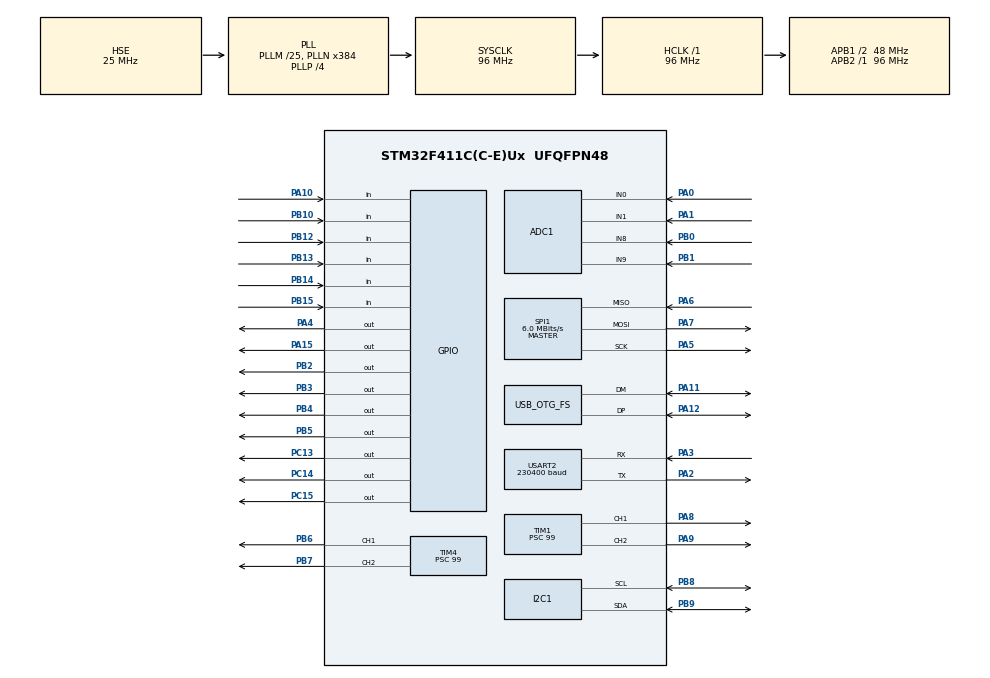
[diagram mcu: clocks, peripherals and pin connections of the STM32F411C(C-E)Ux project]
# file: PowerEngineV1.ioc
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ADC1.Channel-1\#ChannelRegularConversion=ADC_CHANNEL_0
ADC1.Channel-2\#ChannelRegularConversion=ADC_CHANNEL_1
ADC1.Channel-3\#ChannelRegularConversion=ADC_CHANNEL_8
ADC1.Channel-4\#ChannelRegularConversion=ADC_CHANNEL_9
ADC1.ContinuousConvMode=DISABLE
ADC1.DMAContinuousRequests=ENABLE
ADC1.DiscontinuousConvMode=DISABLE
ADC1.EOCSelection=ADC_EOC_SEQ_CONV
ADC1.ExternalTrigConv=ADC_EXTERNALTRIGCONV_T3_TRGO
ADC1.NbrOfConversion=4
ADC1.NbrOfConversionFlag=1
ADC1.Rank-1\#ChannelRegularConversion=1
ADC1.Rank-2\#ChannelRegularConversion=2
ADC1.Rank-3\#ChannelRegularConversion=3
ADC1.Rank-4\#ChannelRegularConversion=4
ADC1.SamplingTime-1\#ChannelRegularConversion=ADC_SAMPLETIME_84CYCLES
ADC1.SamplingTime-2\#ChannelRegularConversion=ADC_SAMPLETIME_84CYCLES
ADC1.SamplingTime-3\#ChannelRegularConversion=ADC_SAMPLETIME_84CYCLES
ADC1.SamplingTime-4\#ChannelRegularConversion=ADC_SAMPLETIME_84CYCLES
ADC1.ScanConvMode=ENABLE
ADC1.master=1
Dma.ADC1.2.Direction=DMA_PERIPH_TO_MEMORY
Dma.ADC1.2.FIFOMode=DMA_FIFOMODE_DISABLE
Dma.ADC1.2.Instance=DMA2_Stream0
Dma.ADC1.2.MemDataAlignment=DMA_MDATAALIGN_HALFWORD
Dma.ADC1.2.MemInc=DMA_MINC_ENABLE
Dma.ADC1.2.Mode=DMA_CIRCULAR
Dma.ADC1.2.PeriphDataAlignment=DMA_PDATAALIGN_HALFWORD
Dma.ADC1.2.PeriphInc=DMA_PINC_DISABLE
Dma.ADC1.2.Priority=DMA_PRIORITY_HIGH
Dma.Request0=USART2_RX
Dma.Request1=USART2_TX
Dma.Request2=ADC1
Dma.USART2_RX.0.Direction=DMA_PERIPH_TO_MEMORY
Dma.USART2_RX.0.FIFOMode=DMA_FIFOMODE_DISABLE
Dma.USART2_RX.0.Instance=DMA1_Stream5
Dma.USART2_RX.0.MemDataAlignment=DMA_MDATAALIGN_BYTE
Dma.USART2_RX.0.MemInc=DMA_MINC_ENABLE
Dma.USART2_RX.0.Mode=DMA_NORMAL
Dma.USART2_RX.0.PeriphDataAlignment=DMA_PDATAALIGN_BYTE
Dma.USART2_RX.0.PeriphInc=DMA_PINC_DISABLE
Dma.USART2_RX.0.Priority=DMA_PRIORITY_HIGH
Dma.USART2_TX.1.Direction=DMA_MEMORY_TO_PERIPH
Dma.USART2_TX.1.FIFOMode=DMA_FIFOMODE_DISABLE
Dma.USART2_TX.1.Instance=DMA1_Stream6
Dma.USART2_TX.1.MemDataAlignment=DMA_MDATAALIGN_BYTE
Dma.USART2_TX.1.MemInc=DMA_MINC_ENABLE
Dma.USART2_TX.1.Mode=DMA_NORMAL
Dma.USART2_TX.1.PeriphDataAlignment=DMA_PDATAALIGN_BYTE
Dma.USART2_TX.1.PeriphInc=DMA_PINC_DISABLE
Dma.USART2_TX.1.Priority=DMA_PRIORITY_HIGH
IWDG.Prescaler=IWDG_PRESCALER_64
Mcu.Family=STM32F4
Mcu.Name=STM32F411C(C-E)Ux
Mcu.Package=UFQFPN48
NVIC.DMA1_Stream5_IRQn=true\:6\:0\:true\:false\:true\:false\:true\:true
NVIC.DMA1_Stream6_IRQn=true\:6\:0\:true\:false\:true\:false\:true\:true
NVIC.DMA2_Stream0_IRQn=true\:6\:0\:true\:false\:true\:false\:true\:true
NVIC.OTG_FS_IRQn=true\:0\:0\:false\:false\:true\:false\:true\:true
NVIC.PriorityGroup=NVIC_PRIORITYGROUP_4
NVIC.TIM2_IRQn=true\:15\:0\:false\:false\:true\:false\:true\:true
NVIC.TimeBase=TIM2_IRQn
NVIC.TimeBaseIP=TIM2
NVIC.USART2_IRQn=true\:6\:0\:true\:false\:true\:false\:true\:true
PA0-WKUP.Signal=ADCx_IN0
PA1.Signal=ADCx_IN1
PA10.GPIO_PuPd=GPIO_PULLDOWN
PA10.Signal=GPIO_Input
PA11.Mode=Device_Only
PA11.Signal=USB_OTG_FS_DM
PA12.Mode=Device_Only
PA12.Signal=USB_OTG_FS_DP
PA13.Mode=Serial_Wire
PA13.Signal=SYS_JTMS-SWDIO
PA14.Mode=Serial_Wire
PA14.Signal=SYS_JTCK-SWCLK
PA15.Signal=GPIO_Output
PA2.Mode=Asynchronous
PA2.Signal=USART2_TX
PA3.Mode=Asynchronous
PA3.Signal=USART2_RX
PA4.Signal=GPIO_Output
PA5.Mode=Full_Duplex_Master
PA5.Signal=SPI1_SCK
PA6.Mode=Full_Duplex_Master
PA6.Signal=SPI1_MISO
PA7.Mode=Full_Duplex_Master
PA7.Signal=SPI1_MOSI
PA8.Signal=S_TIM1_CH1
PA9.Signal=S_TIM1_CH2
PB0.Signal=ADCx_IN8
PB1.Signal=ADCx_IN9
PB10.GPIO_PuPd=GPIO_PULLDOWN
PB10.Signal=GPIO_Input
PB12.GPIO_PuPd=GPIO_PULLDOWN
PB12.Signal=GPIO_Input
PB13.GPIO_PuPd=GPIO_PULLUP
PB13.Signal=GPIO_Input
PB14.GPIO_PuPd=GPIO_PULLUP
PB14.Signal=GPIO_Input
PB15.GPIO_PuPd=GPIO_PULLUP
PB15.Signal=GPIO_Input
PB2.Signal=GPIO_Output
PB3.Signal=GPIO_Output
PB4.Signal=GPIO_Output
PB5.Signal=GPIO_Output
PB6.Signal=S_TIM4_CH1
PB7.Signal=S_TIM4_CH2
PB8.Mode=I2C
PB8.Signal=I2C1_SCL
PB9.Mode=I2C
PB9.Signal=I2C1_SDA
PC13-ANTI_TAMP.Signal=GPIO_Output
PC14-OSC32_IN.Signal=GPIO_Output
PC15-OSC32_OUT.Signal=GPIO_Output
PH0\ -\ OSC_IN.Mode=HSE-External-Oscillator
PH0\ -\ OSC_IN.Signal=RCC_OSC_IN
PH1\ -\ OSC_OUT.Mode=HSE-External-Oscillator
PH1\ -\ OSC_OUT.Signal=RCC_OSC_OUT
ProjectManager.HeapSize=0x200
ProjectManager.StackSize=0x400
ProjectManager.TargetToolchain=STM32CubeIDE
RCC.48MHZClocksFreq_Value=48000000
RCC.AHBFreq_Value=96000000
RCC.APB1CLKDivider=RCC_HCLK_DIV2
RCC.APB1Freq_Value=48000000
RCC.APB1TimFreq_Value=96000000
RCC.APB2Freq_Value=96000000
RCC.APB2TimFreq_Value=96000000
RCC.CortexFreq_Value=96000000
RCC.HCLKFreq_Value=96000000
RCC.HSE_VALUE=25000000
RCC.HSI_VALUE=16000000
RCC.LSE_VALUE=32768
RCC.PLLM=25
RCC.PLLN=384
RCC.PLLP=RCC_PLLP_DIV4
RCC.PLLQ=8
RCC.SYSCLKFreq_VALUE=96000000
RCC.SYSCLKSource=RCC_SYSCLKSOURCE_PLLCLK
RCC.VCOOutputFreq_Value=384000000
SH.ADCx_IN0.0=ADC1_IN0,IN0
SH.ADCx_IN1.0=ADC1_IN1,IN1
SH.ADCx_IN8.0=ADC1_IN8,IN8
SH.ADCx_IN9.0=ADC1_IN9,IN9
SH.S_TIM1_CH1.0=TIM1_CH1,PWM Generation1 CH1
SH.S_TIM1_CH2.0=TIM1_CH2,PWM Generation2 CH2
SH.S_TIM4_CH1.0=TIM4_CH1,PWM Generation1 CH1
SH.S_TIM4_CH2.0=TIM4_CH2,PWM Generation2 CH2
SPI1.BaudRatePrescaler=SPI_BAUDRATEPRESCALER_16
SPI1.CalculateBaudRate=6.0 MBits/s
SPI1.Direction=SPI_DIRECTION_2LINES
SPI1.FirstBit=SPI_FIRSTBIT_MSB
SPI1.Mode=SPI_MODE_MASTER
SPI1.VirtualType=VM_MASTER
TIM1.AutoReloadPreload=TIM_AUTORELOAD_PRELOAD_ENABLE
TIM1.Channel-PWM\ Generation1\ CH1=TIM_CHANNEL_1
TIM1.Channel-PWM\ Generation2\ CH2=TIM_CHANNEL_2
TIM1.Period=999
TIM1.Prescaler=99
TIM3.Period=999
TIM3.Prescaler=83
TIM3.TIM_MasterOutputTrigger=TIM_TRGO_UPDATE
TIM4.AutoReloadPreload=TIM_AUTORELOAD_PRELOAD_ENABLE
TIM4.Channel-PWM\ Generation1\ CH1=TIM_CHANNEL_1
TIM4.Channel-PWM\ Generation2\ CH2=TIM_CHANNEL_2
TIM4.Period=999
TIM4.Prescaler=99
USART2.BaudRate=230400
USART2.VirtualMode=VM_ASYNC
USB_DEVICE.CLASS_NAME_FS=CDC
USB_DEVICE.VirtualMode=Cdc
USB_DEVICE.VirtualModeFS=Cdc_FS
USB_OTG_FS.VirtualMode=Device_Only
VP_IWDG_VS_IWDG.Mode=IWDG_Activate
VP_SYS_VS_tim2.Mode=TIM2
VP_TIM1_VS_ClockSourceINT.Mode=Internal
VP_TIM3_VS_ClockSourceINT.Mode=Internal
VP_USB_DEVICE_VS_USB_DEVICE_CDC_FS.Mode=CDC_FS
board=custom

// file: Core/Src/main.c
/* USER CODE BEGIN Header */
/**
  ******************************************************************************
  * @file           : main.c
  * @brief          : Main program body
  ******************************************************************************
  * @attention
  *
  * Copyright (c) 2025 STMicroelectronics.
  * All rights reserved.
  *
  * This software is licensed under terms that can be found in the LICENSE file
  * in the root directory of this software component.
  * If no LICENSE file comes with this software, it is provided AS-IS.
  *
  ******************************************************************************
  */
/* USER CODE END Header */
#include "main.h"
#include "usb_device.h"

/* USER CODE BEGIN Includes */

#include "plc.h"
#include "cbor.h"
#include "FreeRTOS.h"
#include "task.h"
#include "usbd_cdc_if.h"
#include "usb_log.h"
#include "plc_persist.h"
#include "uart2_cmd_handler.h"
#include "logf.h"
#include "plc_log.h"
/* USER CODE END Includes */

/* USER CODE BEGIN PTD */
#define ADC_CH_NUM 4
volatile uint16_t g_adcRaw[ADC_CH_NUM];
/* USER CODE END PTD */

ADC_HandleTypeDef hadc1;
DMA_HandleTypeDef hdma_adc1;

I2C_HandleTypeDef hi2c1;

IWDG_HandleTypeDef hiwdg;

SPI_HandleTypeDef hspi1;

TIM_HandleTypeDef htim1;
TIM_HandleTypeDef htim3;
TIM_HandleTypeDef htim4;

UART_HandleTypeDef huart2;
DMA_HandleTypeDef hdma_usart2_rx;
DMA_HandleTypeDef hdma_usart2_tx;

void SystemClock_Config(void);

static void MX_GPIO_Init(void);

static void MX_DMA_Init(void);

static void MX_IWDG_Init(void);

static void MX_USART2_UART_Init(void);

static void MX_ADC1_Init(void);

static void MX_I2C1_Init(void);

static void MX_SPI1_Init(void);

static void MX_TIM1_Init(void);

static void MX_TIM4_Init(void);

static void MX_TIM3_Init(void);

/* USER CODE BEGIN PFP */
static void PLC_InitExampleGraph(void);

/* USER CODE END PFP */

int main(void) {

    /* MCU Configuration--------------------------------------------------------*/

    /* Reset of all peripherals, Initializes the Flash interface and the Systick. */
    HAL_Init();

    /* Configure the system clock */
    SystemClock_Config();

    /* Initialize all configured peripherals */
    MX_GPIO_Init();
    MX_DMA_Init();
    MX_IWDG_Init();
    MX_USART2_UART_Init();
    MX_ADC1_Init();
    MX_I2C1_Init();
    MX_SPI1_Init();
    MX_TIM1_Init();
    MX_TIM4_Init();
    MX_USB_DEVICE_Init();
    MX_TIM3_Init();
    /* USER CODE BEGIN 2 */
    // Сформировать тестовый граф ПЛК прямо в g_activeGraph
//    PLC_InitExampleGraph();
    // === ЗАПУСК ADC + DMA ===
    if (HAL_ADC_Start_DMA(&hadc1, (uint32_t *) g_adcRaw, 4) != HAL_OK) {
        Error_Handler();
    }

    // === ЗАПУСК TIM3 (TRGO) ===
    if (HAL_TIM_Base_Start(&htim3) != HAL_OK) {
        Error_Handler();
    }

    // Включить главный выход TIM1
    __HAL_TIM_MOE_ENABLE(&htim1);
    // PWM0 -> TIM1_CH1
    HAL_TIM_PWM_Start(&htim1, TIM_CHANNEL_1);

    // PWM3 -> TIM1_CH2 (если используешь)
    HAL_TIM_PWM_Start(&htim1, TIM_CHANNEL_2);

    // PWM1 -> TIM4_CH1
    HAL_TIM_PWM_Start(&htim4, TIM_CHANNEL_1);

    // PWM2 -> TIM4_CH2
    HAL_TIM_PWM_Start(&htim4, TIM_CHANNEL_2);
//
    u2_start();
//    // Отметить граф как активный и валидный
//    g_activeGraphValid  = true;
//    g_stagingGraphValid = false;
//    g_needSwapGraph     = false;

    // Запустить FreeRTOS (создаст задачи TaskPlcScan и TaskComms и не вернётся)
    UsbLog_Init();
    logf_set_level(LOG_LEVEL_DEBUG); // показывать всё
    logf_set_enabled(true);          // включить логи

    LOGI("Init done, ver=%u", 1u);
    LOGD("Debug details x=%ld", (long) 123);
    plc_log_init();
    if (!plc_persist_load_active()) {
        // если ничего нет — твой тестовый:
        LOGD("plc_persist_load_active false\r\n");
//        PLC_InitExampleGraph();
//        g_activeGraphValid  = true;
//        g_stagingGraphValid = false;
//        g_needSwapGraph     = false;
    } else {
        LOGD("plc_persist_load_active true\r\n");
    }

    init_rtos();
    /* USER CODE END 2 */

    /* Infinite loop */
    while (1) {

    }
}

void SystemClock_Config(void) {
    RCC_OscInitTypeDef RCC_OscInitStruct = {0};
    RCC_ClkInitTypeDef RCC_ClkInitStruct = {0};

    /** Configure the main internal regulator output voltage
    */
    __HAL_RCC_PWR_CLK_ENABLE();
    __HAL_PWR_VOLTAGESCALING_CONFIG(PWR_REGULATOR_VOLTAGE_SCALE1);

    /** Initializes the RCC Oscillators according to the specified parameters
    * in the RCC_OscInitTypeDef structure.
    */
    RCC_OscInitStruct.OscillatorType = RCC_OSCILLATORTYPE_LSI | RCC_OSCILLATORTYPE_HSE;
    RCC_OscInitStruct.HSEState = RCC_HSE_ON;
    RCC_OscInitStruct.LSIState = RCC_LSI_ON;
    RCC_OscInitStruct.PLL.PLLState = RCC_PLL_ON;
    RCC_OscInitStruct.PLL.PLLSource = RCC_PLLSOURCE_HSE;
    RCC_OscInitStruct.PLL.PLLM = 25;
    RCC_OscInitStruct.PLL.PLLN = 384;
    RCC_OscInitStruct.PLL.PLLP = RCC_PLLP_DIV4;
    RCC_OscInitStruct.PLL.PLLQ = 8;
    if (HAL_RCC_OscConfig(&RCC_OscInitStruct) != HAL_OK) {
        Error_Handler();
    }

    /** Initializes the CPU, AHB and APB buses clocks
    */
    RCC_ClkInitStruct.ClockType = RCC_CLOCKTYPE_HCLK | RCC_CLOCKTYPE_SYSCLK
                                  | RCC_CLOCKTYPE_PCLK1 | RCC_CLOCKTYPE_PCLK2;
    RCC_ClkInitStruct.SYSCLKSource = RCC_SYSCLKSOURCE_PLLCLK;
    RCC_ClkInitStruct.AHBCLKDivider = RCC_SYSCLK_DIV1;
    RCC_ClkInitStruct.APB1CLKDivider = RCC_HCLK_DIV2;
    RCC_ClkInitStruct.APB2CLKDivider = RCC_HCLK_DIV1;

    if (HAL_RCC_ClockConfig(&RCC_ClkInitStruct, FLASH_LATENCY_3) != HAL_OK) {
        Error_Handler();
    }
}

static void MX_ADC1_Init(void) {

    ADC_ChannelConfTypeDef sConfig = {0};

    /** Configure the global features of the ADC (Clock, Resolution, Data Alignment and number of conversion)
    */
    hadc1.Instance = ADC1;
    hadc1.Init.ClockPrescaler = ADC_CLOCK_SYNC_PCLK_DIV4;
    hadc1.Init.Resolution = ADC_RESOLUTION_12B;
    hadc1.Init.ScanConvMode = ENABLE;
    hadc1.Init.ContinuousConvMode = DISABLE;
    hadc1.Init.DiscontinuousConvMode = DISABLE;
    hadc1.Init.ExternalTrigConvEdge = ADC_EXTERNALTRIGCONVEDGE_RISING;
    hadc1.Init.ExternalTrigConv = ADC_EXTERNALTRIGCONV_T3_TRGO;
    hadc1.Init.DataAlign = ADC_DATAALIGN_RIGHT;
    hadc1.Init.NbrOfConversion = 4;
    hadc1.Init.DMAContinuousRequests = ENABLE;
    hadc1.Init.EOCSelection = ADC_EOC_SEQ_CONV;
    if (HAL_ADC_Init(&hadc1) != HAL_OK) {
        Error_Handler();
    }

    /** Configure for the selected ADC regular channel its corresponding rank in the sequencer and its sample time.
    */
    sConfig.Channel = ADC_CHANNEL_0;
    sConfig.Rank = 1;
    sConfig.SamplingTime = ADC_SAMPLETIME_84CYCLES;
    if (HAL_ADC_ConfigChannel(&hadc1, &sConfig) != HAL_OK) {
        Error_Handler();
    }

    /** Configure for the selected ADC regular channel its corresponding rank in the sequencer and its sample time.
    */
    sConfig.Channel = ADC_CHANNEL_1;
    sConfig.Rank = 2;
    if (HAL_ADC_ConfigChannel(&hadc1, &sConfig) != HAL_OK) {
        Error_Handler();
    }

    /** Configure for the selected ADC regular channel its corresponding rank in the sequencer and its sample time.
    */
    sConfig.Channel = ADC_CHANNEL_8;
    sConfig.Rank = 3;
    if (HAL_ADC_ConfigChannel(&hadc1, &sConfig) != HAL_OK) {
        Error_Handler();
    }

    /** Configure for the selected ADC regular channel its corresponding rank in the sequencer and its sample time.
    */
    sConfig.Channel = ADC_CHANNEL_9;
    sConfig.Rank = 4;
    if (HAL_ADC_ConfigChannel(&hadc1, &sConfig) != HAL_OK) {
        Error_Handler();
    }

}

static void MX_I2C1_Init(void) {

    hi2c1.Instance = I2C1;
    hi2c1.Init.ClockSpeed = 100000;
    hi2c1.Init.DutyCycle = I2C_DUTYCYCLE_2;
    hi2c1.Init.OwnAddress1 = 0;
    hi2c1.Init.AddressingMode = I2C_ADDRESSINGMODE_7BIT;
    hi2c1.Init.DualAddressMode = I2C_DUALADDRESS_DISABLE;
    hi2c1.Init.OwnAddress2 = 0;
    hi2c1.Init.GeneralCallMode = I2C_GENERALCALL_DISABLE;
    hi2c1.Init.NoStretchMode = I2C_NOSTRETCH_DISABLE;
    if (HAL_I2C_Init(&hi2c1) != HAL_OK) {
        Error_Handler();
    }

}

static void MX_IWDG_Init(void) {

    hiwdg.Instance = IWDG;
    hiwdg.Init.Prescaler = IWDG_PRESCALER_64;
    hiwdg.Init.Reload = 4095;
    if (HAL_IWDG_Init(&hiwdg) != HAL_OK) {
        Error_Handler();
    }

}

static void MX_SPI1_Init(void) {

    /* SPI1 parameter configuration*/
    hspi1.Instance = SPI1;
    hspi1.Init.Mode = SPI_MODE_MASTER;
    hspi1.Init.Direction = SPI_DIRECTION_2LINES;
    hspi1.Init.DataSize = SPI_DATASIZE_8BIT;
    hspi1.Init.CLKPolarity = SPI_POLARITY_LOW;
    hspi1.Init.CLKPhase = SPI_PHASE_1EDGE;
    hspi1.Init.NSS = SPI_NSS_SOFT;
    hspi1.Init.BaudRatePrescaler = SPI_BAUDRATEPRESCALER_16;
    hspi1.Init.FirstBit = SPI_FIRSTBIT_MSB;
    hspi1.Init.TIMode = SPI_TIMODE_DISABLE;
    hspi1.Init.CRCCalculation = SPI_CRCCALCULATION_DISABLE;
    hspi1.Init.CRCPolynomial = 10;
    if (HAL_SPI_Init(&hspi1) != HAL_OK) {
        Error_Handler();
    }

}

static void MX_TIM1_Init(void) {

    TIM_ClockConfigTypeDef sClockSourceConfig = {0};
    TIM_MasterConfigTypeDef sMasterConfig = {0};
    TIM_OC_InitTypeDef sConfigOC = {0};
    TIM_BreakDeadTimeConfigTypeDef sBreakDeadTimeConfig = {0};

    htim1.Instance = TIM1;
    htim1.Init.Prescaler = 0;
    htim1.Init.CounterMode = TIM_COUNTERMODE_UP;
    htim1.Init.Period = 999;
    htim1.Init.ClockDivision = TIM_CLOCKDIVISION_DIV1;
    htim1.Init.RepetitionCounter = 0;
    htim1.Init.AutoReloadPreload = TIM_AUTORELOAD_PRELOAD_ENABLE;
    if (HAL_TIM_Base_Init(&htim1) != HAL_OK) {
        Error_Handler();
    }
    sClockSourceConfig.ClockSource = TIM_CLOCKSOURCE_INTERNAL;
    if (HAL_TIM_ConfigClockSource(&htim1, &sClockSourceConfig) != HAL_OK) {
        Error_Handler();
    }
    if (HAL_TIM_PWM_Init(&htim1) != HAL_OK) {
        Error_Handler();
    }
    sMasterConfig.MasterOutputTrigger = TIM_TRGO_RESET;
    sMasterConfig.MasterSlaveMode = TIM_MASTERSLAVEMODE_DISABLE;
    if (HAL_TIMEx_MasterConfigSynchronization(&htim1, &sMasterConfig) != HAL_OK) {
        Error_Handler();
    }
    sConfigOC.OCMode = TIM_OCMODE_PWM1;
    sConfigOC.Pulse = 0;
    sConfigOC.OCPolarity = TIM_OCPOLARITY_HIGH;
    sConfigOC.OCNPolarity = TIM_OCNPOLARITY_HIGH;
    sConfigOC.OCFastMode = TIM_OCFAST_DISABLE;
    sConfigOC.OCIdleState = TIM_OCIDLESTATE_RESET;
    sConfigOC.OCNIdleState = TIM_OCNIDLESTATE_RESET;
    if (HAL_TIM_PWM_ConfigChannel(&htim1, &sConfigOC, TIM_CHANNEL_1) != HAL_OK) {
        Error_Handler();
    }
    if (HAL_TIM_PWM_ConfigChannel(&htim1, &sConfigOC, TIM_CHANNEL_2) != HAL_OK) {
        Error_Handler();
    }
    sBreakDeadTimeConfig.OffStateRunMode = TIM_OSSR_DISABLE;
    sBreakDeadTimeConfig.OffStateIDLEMode = TIM_OSSI_DISABLE;
    sBreakDeadTimeConfig.LockLevel = TIM_LOCKLEVEL_OFF;
    sBreakDeadTimeConfig.DeadTime = 0;
    sBreakDeadTimeConfig.BreakState = TIM_BREAK_DISABLE;
    sBreakDeadTimeConfig.BreakPolarity = TIM_BREAKPOLARITY_HIGH;
    sBreakDeadTimeConfig.AutomaticOutput = TIM_AUTOMATICOUTPUT_DISABLE;
    if (HAL_TIMEx_ConfigBreakDeadTime(&htim1, &sBreakDeadTimeConfig) != HAL_OK) {
        Error_Handler();
    }
    HAL_TIM_MspPostInit(&htim1);

}

static void MX_TIM3_Init(void) {

    TIM_ClockConfigTypeDef sClockSourceConfig = {0};
    TIM_MasterConfigTypeDef sMasterConfig = {0};

    htim3.Instance = TIM3;
    htim3.Init.Prescaler = 83;
    htim3.Init.CounterMode = TIM_COUNTERMODE_UP;
    htim3.Init.Period = 999;
    htim3.Init.ClockDivision = TIM_CLOCKDIVISION_DIV1;
    htim3.Init.AutoReloadPreload = TIM_AUTORELOAD_PRELOAD_DISABLE;
    if (HAL_TIM_Base_Init(&htim3) != HAL_OK) {
        Error_Handler();
    }
    sClockSourceConfig.ClockSource = TIM_CLOCKSOURCE_INTERNAL;
    if (HAL_TIM_ConfigClockSource(&htim3, &sClockSourceConfig) != HAL_OK) {
        Error_Handler();
    }
    sMasterConfig.MasterOutputTrigger = TIM_TRGO_UPDATE;
    sMasterConfig.MasterSlaveMode = TIM_MASTERSLAVEMODE_DISABLE;
    if (HAL_TIMEx_MasterConfigSynchronization(&htim3, &sMasterConfig) != HAL_OK) {
        Error_Handler();
    }

}

static void MX_TIM4_Init(void) {

    TIM_MasterConfigTypeDef sMasterConfig = {0};
    TIM_OC_InitTypeDef sConfigOC = {0};

    htim4.Instance = TIM4;
    htim4.Init.Prescaler = 0;
    htim4.Init.CounterMode = TIM_COUNTERMODE_UP;
    htim4.Init.Period = 999;
    htim4.Init.ClockDivision = TIM_CLOCKDIVISION_DIV1;
    htim4.Init.AutoReloadPreload = TIM_AUTORELOAD_PRELOAD_ENABLE;
    if (HAL_TIM_PWM_Init(&htim4) != HAL_OK) {
        Error_Handler();
    }
    sMasterConfig.MasterOutputTrigger = TIM_TRGO_RESET;
    sMasterConfig.MasterSlaveMode = TIM_MASTERSLAVEMODE_DISABLE;
    if (HAL_TIMEx_MasterConfigSynchronization(&htim4, &sMasterConfig) != HAL_OK) {
        Error_Handler();
    }
    sConfigOC.OCMode = TIM_OCMODE_PWM1;
    sConfigOC.Pulse = 0;
    sConfigOC.OCPolarity = TIM_OCPOLARITY_HIGH;
    sConfigOC.OCFastMode = TIM_OCFAST_DISABLE;
    if (HAL_TIM_PWM_ConfigChannel(&htim4, &sConfigOC, TIM_CHANNEL_1) != HAL_OK) {
        Error_Handler();
    }
    if (HAL_TIM_PWM_ConfigChannel(&htim4, &sConfigOC, TIM_CHANNEL_2) != HAL_OK) {
        Error_Handler();
    }
    HAL_TIM_MspPostInit(&htim4);

}

static void MX_USART2_UART_Init(void) {

    huart2.Instance = USART2;
    huart2.Init.BaudRate = 230400;
    huart2.Init.WordLength = UART_WORDLENGTH_8B;
    huart2.Init.StopBits = UART_STOPBITS_1;
    huart2.Init.Parity = UART_PARITY_NONE;
    huart2.Init.Mode = UART_MODE_TX_RX;
    huart2.Init.HwFlowCtl = UART_HWCONTROL_NONE;
    huart2.Init.OverSampling = UART_OVERSAMPLING_16;
    if (HAL_UART_Init(&huart2) != HAL_OK) {
        Error_Handler();
    }

}

static void MX_DMA_Init(void) {

    /* DMA controller clock enable */
    __HAL_RCC_DMA1_CLK_ENABLE();
    __HAL_RCC_DMA2_CLK_ENABLE();

    /* DMA interrupt init */
    /* DMA1_Stream5_IRQn interrupt configuration */
    HAL_NVIC_SetPriority(DMA1_Stream5_IRQn, 6, 0);
    HAL_NVIC_EnableIRQ(DMA1_Stream5_IRQn);
    /* DMA1_Stream6_IRQn interrupt configuration */
    HAL_NVIC_SetPriority(DMA1_Stream6_IRQn, 6, 0);
    HAL_NVIC_EnableIRQ(DMA1_Stream6_IRQn);
    /* DMA2_Stream0_IRQn interrupt configuration */
    HAL_NVIC_SetPriority(DMA2_Stream0_IRQn, 6, 0);
    HAL_NVIC_EnableIRQ(DMA2_Stream0_IRQn);

}

static void MX_GPIO_Init(void) {
    GPIO_InitTypeDef GPIO_InitStruct = {0};

    /* GPIO Ports Clock Enable */
    __HAL_RCC_GPIOC_CLK_ENABLE();
    __HAL_RCC_GPIOH_CLK_ENABLE();
    __HAL_RCC_GPIOA_CLK_ENABLE();
    __HAL_RCC_GPIOB_CLK_ENABLE();

    /*Configure GPIO pin Output Level */
    HAL_GPIO_WritePin(GPIOC, GPIO_PIN_13 | GPIO_PIN_14 | GPIO_PIN_15, GPIO_PIN_RESET);

    /*Configure GPIO pin Output Level */
    HAL_GPIO_WritePin(GPIOA, GPIO_PIN_4 | GPIO_PIN_15, GPIO_PIN_RESET);

    /*Configure GPIO pin Output Level */
    HAL_GPIO_WritePin(GPIOB, GPIO_PIN_2 | GPIO_PIN_3 | GPIO_PIN_4 | GPIO_PIN_5, GPIO_PIN_RESET);

    /*Configure GPIO pins : PC13 PC14 PC15 */
    GPIO_InitStruct.Pin = GPIO_PIN_13 | GPIO_PIN_14 | GPIO_PIN_15;
    GPIO_InitStruct.Mode = GPIO_MODE_OUTPUT_PP;
    GPIO_InitStruct.Pull = GPIO_NOPULL;
    GPIO_InitStruct.Speed = GPIO_SPEED_FREQ_LOW;
    HAL_GPIO_Init(GPIOC, &GPIO_InitStruct);

    /*Configure GPIO pins : PA4 PA15 */
    GPIO_InitStruct.Pin = GPIO_PIN_4 | GPIO_PIN_15;
    GPIO_InitStruct.Mode = GPIO_MODE_OUTPUT_PP;
    GPIO_InitStruct.Pull = GPIO_NOPULL;
    GPIO_InitStruct.Speed = GPIO_SPEED_FREQ_LOW;
    HAL_GPIO_Init(GPIOA, &GPIO_InitStruct);

    /*Configure GPIO pins : PB2 PB3 PB4 PB5 */
    GPIO_InitStruct.Pin = GPIO_PIN_2 | GPIO_PIN_3 | GPIO_PIN_4 | GPIO_PIN_5;
    GPIO_InitStruct.Mode = GPIO_MODE_OUTPUT_PP;
    GPIO_InitStruct.Pull = GPIO_NOPULL;
    GPIO_InitStruct.Speed = GPIO_SPEED_FREQ_LOW;
    HAL_GPIO_Init(GPIOB, &GPIO_InitStruct);

    /*Configure GPIO pins : PB10 PB12 */
    GPIO_InitStruct.Pin = GPIO_PIN_10 | GPIO_PIN_12;
    GPIO_InitStruct.Mode = GPIO_MODE_INPUT;
    GPIO_InitStruct.Pull = GPIO_PULLDOWN;
    HAL_GPIO_Init(GPIOB, &GPIO_InitStruct);

    /*Configure GPIO pins : PB13 PB14 PB15 */
    GPIO_InitStruct.Pin = GPIO_PIN_13 | GPIO_PIN_14 | GPIO_PIN_15;
    GPIO_InitStruct.Mode = GPIO_MODE_INPUT;
    GPIO_InitStruct.Pull = GPIO_PULLUP;
    HAL_GPIO_Init(GPIOB, &GPIO_InitStruct);

    /*Configure GPIO pin : PA10 */
    GPIO_InitStruct.Pin = GPIO_PIN_10;
    GPIO_InitStruct.Mode = GPIO_MODE_INPUT;
    GPIO_InitStruct.Pull = GPIO_PULLDOWN;
    HAL_GPIO_Init(GPIOA, &GPIO_InitStruct);

}

/* USER CODE BEGIN 4 */

static void PLC_InitExampleGraph(void) {
    // Цель графа:
    //
    // node0: DIGITAL_IN (DI0)
    // node1: TON (delay 3000 мс) на входе node0
    // node2: DIGITAL_OUT (DO0) берёт выход node1
    //
    // Цикл ПЛК 10 мс.

    memset(&g_activeGraph, 0, sizeof(g_activeGraph));
    g_activeGraph.cycleMs = 10;
    g_activeGraph.nodeCount = 3;

    // ---------------- node0: DIGITAL_IN ----------------
    g_activeGraph.nodes[0].id = 0;
    g_activeGraph.nodes[0].type = PLC_NODE_DIGITAL_IN;
    g_activeGraph.nodes[0].valueType = PLC_VAL_BOOL;
    g_activeGraph.nodes[0].inA = -1;
    g_activeGraph.nodes[0].inB = -1;
    g_activeGraph.nodes[0].paramInt = 0;     // логический канал DI0
    g_activeGraph.nodes[0].paramMs = 0;
    g_activeGraph.nodes[0].flags = 0;
    // runtime поля (out, ton_*, force_*) будут обнулены ниже вручную

    // ---------------- node1: TON ----------------
    g_activeGraph.nodes[1].id = 1;
    g_activeGraph.nodes[1].type = PLC_NODE_TON;
    g_activeGraph.nodes[1].valueType = PLC_VAL_BOOL;
    g_activeGraph.nodes[1].inA = 0;     // вход TON берёт node0
    g_activeGraph.nodes[1].inB = -1;
    g_activeGraph.nodes[1].paramInt = 0;
    g_activeGraph.nodes[1].paramMs = 3000;  // задержка 3000 мс
    g_activeGraph.nodes[1].flags = 0;

    // ---------------- node2: DIGITAL_OUT ----------------
    g_activeGraph.nodes[2].id = 2;
    g_activeGraph.nodes[2].type = PLC_NODE_DIGITAL_OUT;
    g_activeGraph.nodes[2].valueType = PLC_VAL_BOOL;
    g_activeGraph.nodes[2].inA = 1;     // выход DO = выход TON
    g_activeGraph.nodes[2].inB = -1;
    g_activeGraph.nodes[2].paramInt = 0;     // логический канал DO0
    g_activeGraph.nodes[2].paramMs = 0;
    g_activeGraph.nodes[2].flags = 0;

    // Инициализируем рантайм-поля узлов (то же самое делает plc_graph_reset_runtime(),
    // но мы можем сделать локально, чтобы не вызывать её отдельно).
    for (uint16_t i = 0; i < g_activeGraph.nodeCount; i++) {
        PlcNode *n = &g_activeGraph.nodes[i];
        n->out.b = false;
        n->out.i = 0;
        n->out.f = 0.0f;

        n->sr_q = false;
        n->trig_prev = false;

        n->ton_active = false;
        n->ton_accum_ms = 0;

        n->toff_holding = false;
        n->toff_left_ms = 0;

        n->force_en = false;
        n->force_bool = false;
        n->force_left_ms = 0;
    }
}

int _write(int file, char *ptr, int len) {
    if (xPortIsInsideInterrupt()) {
        UsbLog_PutFromISR(ptr, (size_t) len);  // без блокировок
    } else {
        UsbLog_Put(ptr, (size_t) len);         // обычный путь
    }
    return len;
}

/* USER CODE END 4 */

void HAL_TIM_PeriodElapsedCallback(TIM_HandleTypeDef *htim) {
    if (htim->Instance == TIM2) {
        HAL_IncTick();
    }
}

void Error_Handler(void) {
    __disable_irq();
    while (1) {
    }
}
